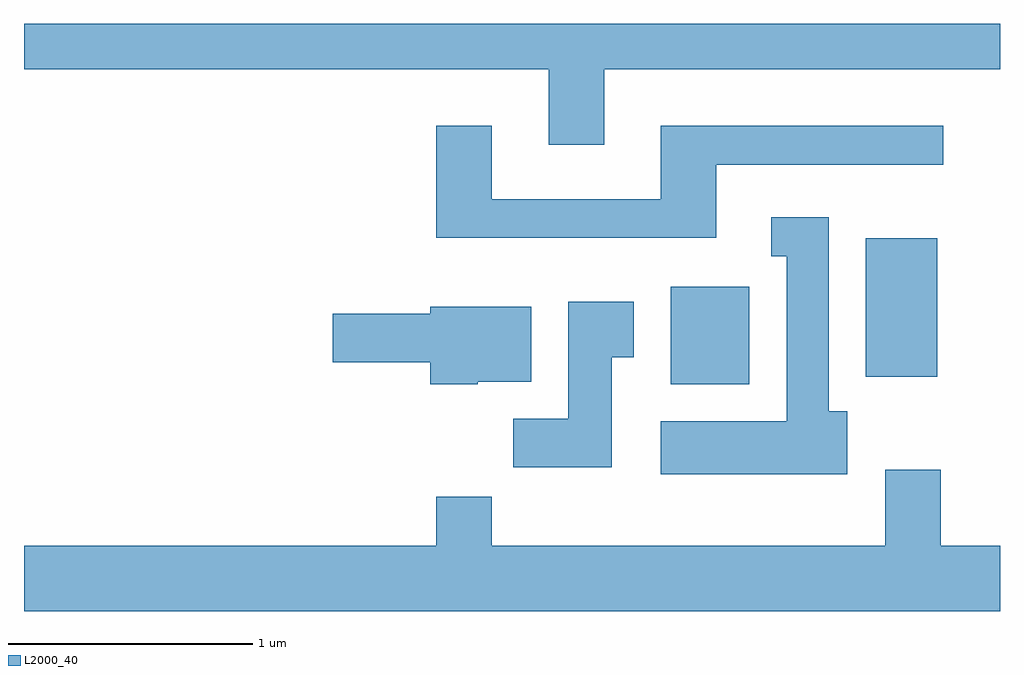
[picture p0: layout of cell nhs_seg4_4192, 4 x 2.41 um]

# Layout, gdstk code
import gdstk
lib = gdstk.Library(unit=1e-6, precision=1e-09)
def R(c, l, rs):  # rectangles x0, y0, x1, y1
    for r in rs: c.add(gdstk.rectangle(r[:2], r[2:], *l))
def P(c, l, *ps):  # polygons
    for p in ps: c.add(gdstk.Polygon(p, *l))
L2000_40 = (2000, 40)

nhs_seg4_4192 = lib.new_cell('nhs_seg4_4192')
R(nhs_seg4_4192, L2000_40, [(310.261,1344.506,310.584,1344.904), (311.061,1344.536,311.354,1345.104)])
P(nhs_seg4_4192, L2000_40, [(309.989,1345.796),(311.611,1345.796),(311.611,1345.982),(307.611,1345.982),(307.611,1345.796),(309.761,1345.796),(309.761,1345.486),(309.989,1345.486)],
  [(310.449,1345.406),(311.378,1345.406),(311.378,1345.564),(310.221,1345.564),(310.221,1345.264),(309.529,1345.264),(309.529,1345.564),(309.301,1345.564),(309.301,1345.106),(310.449,1345.106)],
  [(310.984,1344.394),(310.909,1344.394),(310.909,1345.189),(310.673,1345.189),(310.673,1345.031),(310.736,1345.031),(310.736,1344.354),(310.221,1344.354),(310.221,1344.136),(310.984,1344.136)],
  [(310.019,1344.616),(310.109,1344.616),(310.109,1344.844),(309.841,1344.844),(309.841,1344.364),(309.616,1344.364),(309.616,1344.166),(310.019,1344.166)],
  [(309.47,1344.516),(309.689,1344.516),(309.689,1344.824),(309.276,1344.824),(309.276,1344.794),(308.876,1344.794),(308.876,1344.596),(309.276,1344.596),(309.276,1344.506),(309.47,1344.506)],
  [(311.611,1343.844),(311.369,1343.844),(311.369,1344.154),(311.141,1344.154),(311.141,1343.844),(309.529,1343.844),(309.529,1344.044),(309.301,1344.044),(309.301,1343.844),(307.611,1343.844),(307.611,1343.576),(311.611,1343.576)])

lib.write_gds('nhs_seg4_4192.gds')
